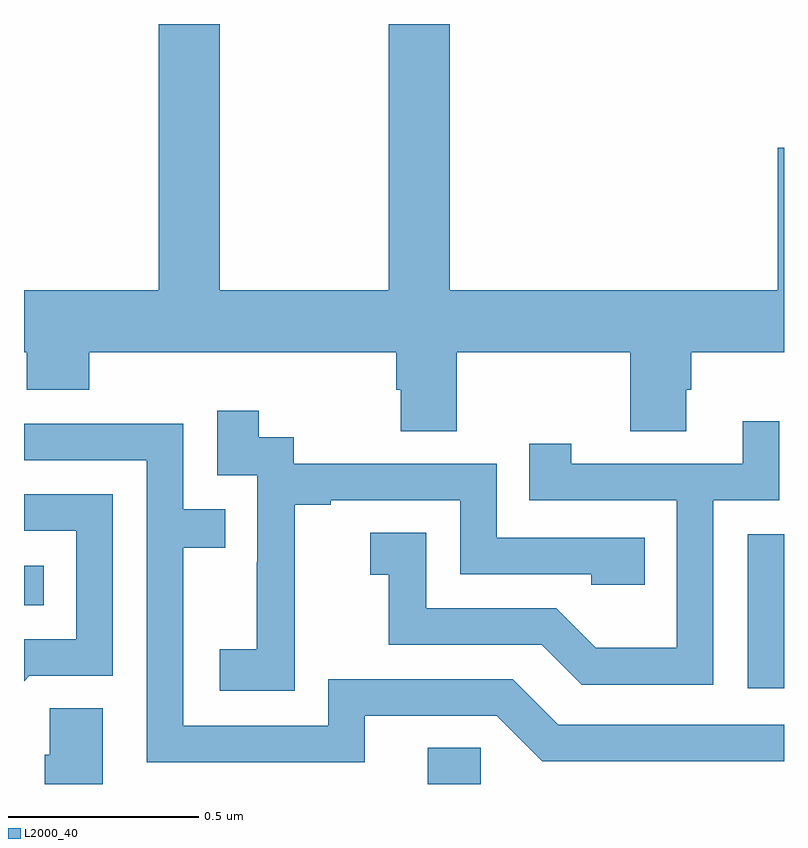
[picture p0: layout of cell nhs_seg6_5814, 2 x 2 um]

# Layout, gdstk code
import gdstk
lib = gdstk.Library(unit=1e-6, precision=1e-09)
def R(c, l, rs):  # rectangles x0, y0, x1, y1
    for r in rs: c.add(gdstk.rectangle(r[:2], r[2:], *l))
def P(c, l, *ps):  # polygons
    for p in ps: c.add(gdstk.Polygon(p, *l))
L2000_40 = (2000, 40)

nhs_seg6_5814 = lib.new_cell('nhs_seg6_5814')
R(nhs_seg6_5814, L2000_40, [(188.063,979.5,188.202,979.595), (188.904,979.752,189,980.157), (187,979.97,187.052,980.074)])
P(nhs_seg6_5814, L2000_40, [(188.139,980.636),(188.596,980.636),(188.596,980.428),(188.743,980.428),(188.743,980.538),(188.756,980.538),(188.756,980.636),(189,980.636),(189,981.175),(188.984,981.175),(188.984,980.8),(188.12,980.8),(188.12,981.5),(187.96,981.5),(187.96,980.8),(187.515,980.8),(187.515,981.5),(187.355,981.5),(187.355,980.8),(187,980.8),(187,980.636),(187.007,980.636),(187.007,980.537),(187.172,980.537),(187.172,980.636),(187.979,980.636),(187.979,980.538),(187.991,980.538),(187.991,980.428),(188.139,980.428)],
  [(187.713,979.951),(187.712,979.951),(187.712,980.235),(187.807,980.235),(187.807,980.247),(188.148,980.247),(188.148,980.052),(188.493,980.052),(188.493,980.025),(188.633,980.025),(188.633,980.148),(188.244,980.148),(188.244,980.343),(187.71,980.343),(187.71,980.412),(187.618,980.412),(187.618,980.482),(187.509,980.482),(187.509,980.313),(187.614,980.313),(187.614,980.084),(187.613,980.084),(187.613,979.855),(187.515,979.855),(187.515,979.745),(187.713,979.745)],
  [(188.814,980.247),(188.988,980.247),(188.988,980.455),(188.891,980.455),(188.891,980.343),(188.44,980.343),(188.44,980.395),(188.329,980.395),(188.329,980.247),(188.718,980.247),(188.718,979.858),(188.504,979.858),(188.4,979.962),(188.058,979.962),(188.058,980.161),(187.911,980.161),(187.911,980.051),(187.96,980.051),(187.96,979.866),(188.363,979.866),(188.468,979.761),(188.814,979.761)],
  [(187.897,979.68),(188.244,979.68),(188.364,979.56),(189,979.56),(189,979.656),(188.406,979.656),(188.286,979.776),(187.8,979.776),(187.8,979.653),(187.419,979.653),(187.419,980.122),(187.529,980.122),(187.529,980.223),(187.419,980.223),(187.419,980.448),(187,980.448),(187,980.352),(187.323,980.352),(187.323,979.557),(187.897,979.557)],
  [(187.014,979.785),(187.233,979.785),(187.233,980.262),(187,980.262),(187,980.166),(187.137,980.166),(187.137,979.881),(187,979.881),(187,979.771)],
  [(187.207,979.7),(187.068,979.7),(187.068,979.577),(187.055,979.577),(187.055,979.5),(187.207,979.5)])

lib.write_gds('nhs_seg6_5814.gds')
